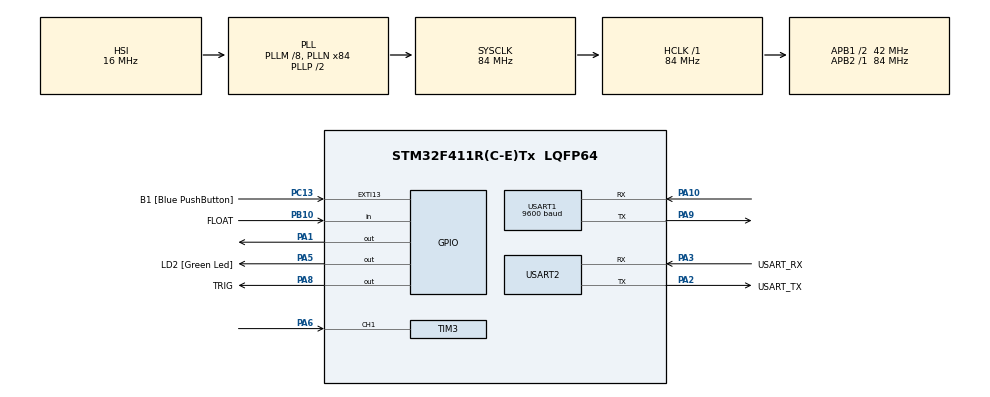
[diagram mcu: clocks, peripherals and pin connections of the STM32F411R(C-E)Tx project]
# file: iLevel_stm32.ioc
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Mcu.Family=STM32F4
Mcu.Name=STM32F411R(C-E)Tx
Mcu.Package=LQFP64
NVIC.PriorityGroup=NVIC_PRIORITYGROUP_0
NVIC.TIM3_IRQn=true\:0\:0\:false\:false\:true\:true\:true
NVIC.USART1_IRQn=true\:0\:0\:false\:false\:true\:true\:true
NVIC.USART2_IRQn=true\:0\:0\:false\:false\:true\:true\:true
PA1.Signal=GPIO_Output
PA10.Mode=Asynchronous
PA10.Signal=USART1_RX
PA13.GPIO_Label=TMS
PA13.Mode=Serial_Wire
PA13.Signal=SYS_JTMS-SWDIO
PA14.GPIO_Label=TCK
PA14.Mode=Serial_Wire
PA14.Signal=SYS_JTCK-SWCLK
PA2.GPIO_Label=USART_TX
PA2.Mode=Asynchronous
PA2.Signal=USART2_TX
PA3.GPIO_Label=USART_RX
PA3.Mode=Asynchronous
PA3.Signal=USART2_RX
PA5.GPIO_Label=LD2 [Green Led]
PA5.Signal=GPIO_Output
PA6.Signal=S_TIM3_CH1
PA8.GPIO_Label=TRIG
PA8.GPIO_PuPd=GPIO_NOPULL
PA8.Signal=GPIO_Output
PA9.Mode=Asynchronous
PA9.Signal=USART1_TX
PB10.GPIO_Label=FLOAT
PB10.GPIO_PuPd=GPIO_PULLUP
PB10.Signal=GPIO_Input
PB3.GPIO_Label=SWO
PB3.Signal=SYS_JTDO-SWO
PC13-ANTI_TAMP.GPIO_Label=B1 [Blue PushButton]
PC13-ANTI_TAMP.GPIO_ModeDefaultEXTI=GPIO_MODE_IT_FALLING
PC13-ANTI_TAMP.Signal=GPXTI13
PC14-OSC32_IN.Mode=LSE-External-Oscillator
PC14-OSC32_IN.Signal=RCC_OSC32_IN
PC15-OSC32_OUT.Mode=LSE-External-Oscillator
PC15-OSC32_OUT.Signal=RCC_OSC32_OUT
PH0\ -\ OSC_IN.Mode=HSE-External-Oscillator
PH0\ -\ OSC_IN.Signal=RCC_OSC_IN
PH1\ -\ OSC_OUT.Mode=HSE-External-Oscillator
PH1\ -\ OSC_OUT.Signal=RCC_OSC_OUT
ProjectManager.HeapSize=0x200
ProjectManager.StackSize=0x400
ProjectManager.TargetToolchain=STM32CubeIDE
RCC.48MHZClocksFreq_Value=42000000
RCC.AHBFreq_Value=84000000
RCC.APB1CLKDivider=RCC_HCLK_DIV2
RCC.APB1Freq_Value=42000000
RCC.APB1TimFreq_Value=84000000
RCC.APB2Freq_Value=84000000
RCC.APB2TimFreq_Value=84000000
RCC.CortexFreq_Value=84000000
RCC.FLatency-AdvancedSettings=FLASH_LATENCY_2
RCC.HCLKFreq_Value=84000000
RCC.HSE_VALUE=8000000
RCC.HSI_VALUE=16000000
RCC.PLLM=8
RCC.PLLN=84
RCC.SYSCLKFreq_VALUE=84000000
RCC.SYSCLKSource=RCC_SYSCLKSOURCE_PLLCLK
RCC.VCOOutputFreq_Value=168000000
SH.S_TIM3_CH1.0=TIM3_CH1,Input_Capture1_from_TI1
TIM10.Period=0xffff-1
TIM10.Prescaler=50-1
TIM3.Channel-Input_Capture1_from_TI1=TIM_CHANNEL_1
TIM3.ICFilter_CH1=4
TIM3.ICPolarity_CH1=TIM_INPUTCHANNELPOLARITY_BOTHEDGE
TIM3.Prescaler=84-1
TIM4.Period=0
TIM4.Prescaler=84-1
USART1.BaudRate=9600
USART1.VirtualMode=VM_ASYNC
USART2.VirtualMode=VM_ASYNC
VP_TIM10_VS_ClockSourceINT.Mode=Enable_Timer
VP_TIM3_VS_ClockSourceINT.Mode=Internal
VP_TIM4_VS_ClockSourceINT.Mode=Internal
board=NUCLEO-F411RE

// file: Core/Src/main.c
/* USER CODE BEGIN Header */
/**
 ******************************************************************************
 * @file           : main.c
 * @brief          : Main program body
 ******************************************************************************
 * @attention
 *
 * <h2><center>&copy; Copyright (c) 2022 STMicroelectronics.
 * All rights reserved.</center></h2>
 *
 * This software component is licensed by ST under BSD 3-Clause license,
 * the "License"; You may not use this file except in compliance with the
 * License. You may obtain a copy of the License at:
 *                        opensource.org/licenses/BSD-3-Clause
 *
 ******************************************************************************
 */
/* USER CODE END Header */
#include "main.h"

TIM_HandleTypeDef htim3;
TIM_HandleTypeDef htim4;
TIM_HandleTypeDef htim10;

UART_HandleTypeDef huart1;
UART_HandleTypeDef huart2;

void SystemClock_Config(void);
static void MX_GPIO_Init(void);
static void MX_USART2_UART_Init(void);
static void MX_TIM3_Init(void);
static void MX_TIM4_Init(void);
static void MX_TIM10_Init(void);
static void MX_USART1_UART_Init(void);
/* USER CODE BEGIN PFP */
void usDelay(uint32_t uSec);
/* USER CODE END PFP */

/* USER CODE BEGIN 0 */

char data[4] = "";
char buffer[21] = "F:0|S:123.45|T:67.89"; // F:x|S:xxx.xx|T:xx.xx
void HAL_UART_RxCpltCallback(UART_HandleTypeDef *huart) {
	if (huart == &huart1) {
		HAL_GPIO_TogglePin(GPIOA, GPIO_PIN_5);
		HAL_UART_Transmit(&huart2, data, sizeof(data), 1000);
		HAL_UART_Transmit(&huart1, buffer, sizeof(buffer), 1000);
	}
	HAL_UART_Receive_IT(&huart1, &data, sizeof(data));
}

uint8_t icFlag = 0;
uint8_t captureIdx = 0;
uint32_t edge1Time = 0, edge2Time = 0;
float distance;

//void usDelay(uint16_t time) {
//	/* change your code here for the usDelay in microseconds */
//	__HAL_TIM_SET_COUNTER(&htim10, 0);
//	while ((__HAL_TIM_GET_COUNTER(&htim10)) < time)
//		;
//}

uint8_t Temp_byte1, Temp_byte2;
uint16_t TEMP;

float Temperature = 0;
uint8_t Presence = 0;

void Set_Pin_Output(GPIO_TypeDef *GPIOx, uint16_t GPIO_Pin) {
	GPIO_InitTypeDef GPIO_InitStruct = { 0 };
	GPIO_InitStruct.Pin = GPIO_Pin;
	GPIO_InitStruct.Mode = GPIO_MODE_OUTPUT_PP;
	GPIO_InitStruct.Speed = GPIO_SPEED_FREQ_LOW;
	HAL_GPIO_Init(GPIOx, &GPIO_InitStruct);
}

void Set_Pin_Input(GPIO_TypeDef *GPIOx, uint16_t GPIO_Pin) {
	GPIO_InitTypeDef GPIO_InitStruct = { 0 };
	GPIO_InitStruct.Pin = GPIO_Pin;
	GPIO_InitStruct.Mode = GPIO_MODE_INPUT;
	GPIO_InitStruct.Pull = GPIO_PULLUP; // GPIO_NOPULL / GPIO_PULLUP
	HAL_GPIO_Init(GPIOx, &GPIO_InitStruct);
}

/*********************************** DS18B20 FUNCTIONS ****************************************/

#define DS18B20_PORT GPIOA
#define DS18B20_PIN GPIO_PIN_1

uint8_t DS18B20_Start(void) {
	uint8_t Response = 0;
	Set_Pin_Output(DS18B20_PORT, DS18B20_PIN);   // set the pin as output
	HAL_GPIO_WritePin(DS18B20_PORT, DS18B20_PIN, 0);  // pull the pin low
	usDelay(480);   // usDelay according to datasheet

	Set_Pin_Input(DS18B20_PORT, DS18B20_PIN);    // set the pin as input
	usDelay(80);    // usDelay according to datasheet

	if (!(HAL_GPIO_ReadPin(DS18B20_PORT, DS18B20_PIN)))
		Response = 1;    // if the pin is low i.e the presence pulse is detected
	else
		Response = -1;

	usDelay(400); // 480 us usDelay totally.

	return Response;
}

void DS18B20_Write(uint8_t data) {
	Set_Pin_Output(DS18B20_PORT, DS18B20_PIN);  // set as output

	for (int i = 0; i < 8; i++) {

		if ((data & (1 << i)) != 0)  // if the bit is high
				{
			// write 1

			Set_Pin_Output(DS18B20_PORT, DS18B20_PIN);  // set as output
			HAL_GPIO_WritePin(DS18B20_PORT, DS18B20_PIN, 0); // pull the pin LOW
			usDelay(1);  // wait for 1 us

			Set_Pin_Input(DS18B20_PORT, DS18B20_PIN);  // set as input
			usDelay(50);
		}

		else  // if the bit is low
		{
			// write 0

			Set_Pin_Output(DS18B20_PORT, DS18B20_PIN);
			HAL_GPIO_WritePin(DS18B20_PORT, DS18B20_PIN, 0); // pull the pin LOW
			usDelay(50);

			Set_Pin_Input(DS18B20_PORT, DS18B20_PIN);
		}
	}
}

uint8_t DS18B20_Read(void) {
	uint8_t value = 0;

	Set_Pin_Input(DS18B20_PORT, DS18B20_PIN);

	for (int i = 0; i < 8; i++) {
		Set_Pin_Output(DS18B20_PORT, DS18B20_PIN);   // set as output

		HAL_GPIO_WritePin(DS18B20_PORT, DS18B20_PIN, 0); // pull the data pin LOW
		usDelay(1);  // wait for > 1us

		Set_Pin_Input(DS18B20_PORT, DS18B20_PIN);  // set as input
		if (HAL_GPIO_ReadPin(DS18B20_PORT, DS18B20_PIN))  // if the pin is HIGH
				{
			value |= 1 << i;  // read = 1
		}
		usDelay(50);
	}
	return value;
}
/* USER CODE END 0 */

int main(void) {

	/* MCU Configuration--------------------------------------------------------*/

	/* Reset of all peripherals, Initializes the Flash interface and the Systick. */
	HAL_Init();

	/* Configure the system clock */
	SystemClock_Config();

	/* Initialize all configured peripherals */
	MX_GPIO_Init();
	MX_USART2_UART_Init();
	MX_TIM3_Init();
	MX_TIM4_Init();
	MX_TIM10_Init();
	MX_USART1_UART_Init();
	/* USER CODE BEGIN 2 */
	int Float = 0;
	HAL_UART_Transmit(&huart1, buffer, sizeof(buffer), 1000);
	/* USER CODE END 2 */

	/* Infinite loop */
	while (1) {

		/* USER CODE BEGIN 3 */
		// set trig to low for few usec
		HAL_GPIO_WritePin(TRIG_GPIO_Port, TRIG_Pin, GPIO_PIN_RESET);
		usDelay(3);

		// output 10 usec trig
		HAL_GPIO_WritePin(TRIG_GPIO_Port, TRIG_Pin, GPIO_PIN_SET);
		usDelay(10);
		HAL_GPIO_WritePin(TRIG_GPIO_Port, TRIG_Pin, GPIO_PIN_RESET);

		// echo signal pulse width
		HAL_TIM_IC_Start_IT(&htim3, TIM_CHANNEL_1);
		// wait for ic flag
		uint32_t startTick = HAL_GetTick();
		do {
			if (icFlag)
				break;
		} while ((HAL_GetTick() - startTick) < 500);
		icFlag = 0;
		HAL_TIM_IC_Stop_IT(&htim3, TIM_CHANNEL_1);

		// calculate distance in cm
		if (edge2Time > edge1Time) {
			distance = ((edge2Time - edge1Time) + 0.0f) * 0.0171821;
		} else {
			distance = 0.0f;
		}
//		char dis[50];
//		sprintf(dis, "Distance (cm) = %06.2f\r\n", distance);
//		HAL_UART_Transmit(&huart2, (uint8_t*) dis, strlen(dis), HAL_MAX_DELAY);
//*********************************************float sensor**********************************//
		if (HAL_GPIO_ReadPin(FLOAT_GPIO_Port, FLOAT_Pin) == GPIO_PIN_RESET) {
			Float = 0;
		} else {
			Float = 1;
		}

//*********************************************ds18b20**********************************//
		Presence = DS18B20_Start();
		HAL_Delay(1);
		DS18B20_Write(0xCC);  // skip ROM
		DS18B20_Write(0x44);  // convert t
		HAL_Delay(800);

		Presence = DS18B20_Start();
		HAL_Delay(1);
		DS18B20_Write(0xCC);  // skip ROM
		DS18B20_Write(0xBE);  // Read Scratch-pad

		Temp_byte1 = DS18B20_Read();
		Temp_byte2 = DS18B20_Read();
		TEMP = (Temp_byte2 << 8) | Temp_byte1;
		Temperature = (float) TEMP / 16;

//		char temp[50];
//		sprintf(temp, "F:%d|S:%06.2f|T:%.2f\r\n", Float, distance, Temperature);
//		HAL_UART_Transmit(&huart2, (uint8_t*) temp, strlen(temp),HAL_MAX_DELAY);

		sprintf(buffer, "F:%d|S:%06.2f|T:%.2f", Float, distance, Temperature);
		HAL_UART_Receive_IT(&huart1, &data, sizeof(data));
	}
	/* USER CODE END 3 */
}

void SystemClock_Config(void) {
	RCC_OscInitTypeDef RCC_OscInitStruct = { 0 };
	RCC_ClkInitTypeDef RCC_ClkInitStruct = { 0 };

	/** Configure the main internal regulator output voltage
	 */
	__HAL_RCC_PWR_CLK_ENABLE();
	__HAL_PWR_VOLTAGESCALING_CONFIG(PWR_REGULATOR_VOLTAGE_SCALE1);
	/** Initializes the RCC Oscillators according to the specified parameters
	 * in the RCC_OscInitTypeDef structure.
	 */
	RCC_OscInitStruct.OscillatorType = RCC_OSCILLATORTYPE_HSI;
	RCC_OscInitStruct.HSIState = RCC_HSI_ON;
	RCC_OscInitStruct.HSICalibrationValue = RCC_HSICALIBRATION_DEFAULT;
	RCC_OscInitStruct.PLL.PLLState = RCC_PLL_ON;
	RCC_OscInitStruct.PLL.PLLSource = RCC_PLLSOURCE_HSI;
	RCC_OscInitStruct.PLL.PLLM = 8;
	RCC_OscInitStruct.PLL.PLLN = 84;
	RCC_OscInitStruct.PLL.PLLP = RCC_PLLP_DIV2;
	RCC_OscInitStruct.PLL.PLLQ = 4;
	if (HAL_RCC_OscConfig(&RCC_OscInitStruct) != HAL_OK) {
		Error_Handler();
	}
	/** Initializes the CPU, AHB and APB buses clocks
	 */
	RCC_ClkInitStruct.ClockType = RCC_CLOCKTYPE_HCLK | RCC_CLOCKTYPE_SYSCLK
			| RCC_CLOCKTYPE_PCLK1 | RCC_CLOCKTYPE_PCLK2;
	RCC_ClkInitStruct.SYSCLKSource = RCC_SYSCLKSOURCE_PLLCLK;
	RCC_ClkInitStruct.AHBCLKDivider = RCC_SYSCLK_DIV1;
	RCC_ClkInitStruct.APB1CLKDivider = RCC_HCLK_DIV2;
	RCC_ClkInitStruct.APB2CLKDivider = RCC_HCLK_DIV1;

	if (HAL_RCC_ClockConfig(&RCC_ClkInitStruct, FLASH_LATENCY_2) != HAL_OK) {
		Error_Handler();
	}
}

static void MX_TIM3_Init(void) {

	TIM_ClockConfigTypeDef sClockSourceConfig = { 0 };
	TIM_MasterConfigTypeDef sMasterConfig = { 0 };
	TIM_IC_InitTypeDef sConfigIC = { 0 };

	htim3.Instance = TIM3;
	htim3.Init.Prescaler = 84 - 1;
	htim3.Init.CounterMode = TIM_COUNTERMODE_UP;
	htim3.Init.Period = 65535;
	htim3.Init.ClockDivision = TIM_CLOCKDIVISION_DIV1;
	htim3.Init.AutoReloadPreload = TIM_AUTORELOAD_PRELOAD_DISABLE;
	if (HAL_TIM_Base_Init(&htim3) != HAL_OK) {
		Error_Handler();
	}
	sClockSourceConfig.ClockSource = TIM_CLOCKSOURCE_INTERNAL;
	if (HAL_TIM_ConfigClockSource(&htim3, &sClockSourceConfig) != HAL_OK) {
		Error_Handler();
	}
	if (HAL_TIM_IC_Init(&htim3) != HAL_OK) {
		Error_Handler();
	}
	sMasterConfig.MasterOutputTrigger = TIM_TRGO_RESET;
	sMasterConfig.MasterSlaveMode = TIM_MASTERSLAVEMODE_DISABLE;
	if (HAL_TIMEx_MasterConfigSynchronization(&htim3, &sMasterConfig)
			!= HAL_OK) {
		Error_Handler();
	}
	sConfigIC.ICPolarity = TIM_INPUTCHANNELPOLARITY_BOTHEDGE;
	sConfigIC.ICSelection = TIM_ICSELECTION_DIRECTTI;
	sConfigIC.ICPrescaler = TIM_ICPSC_DIV1;
	sConfigIC.ICFilter = 4;
	if (HAL_TIM_IC_ConfigChannel(&htim3, &sConfigIC, TIM_CHANNEL_1) != HAL_OK) {
		Error_Handler();
	}

}

static void MX_TIM4_Init(void) {

	TIM_ClockConfigTypeDef sClockSourceConfig = { 0 };
	TIM_MasterConfigTypeDef sMasterConfig = { 0 };

	htim4.Instance = TIM4;
	htim4.Init.Prescaler = 84 - 1;
	htim4.Init.CounterMode = TIM_COUNTERMODE_UP;
	htim4.Init.Period = 0;
	htim4.Init.ClockDivision = TIM_CLOCKDIVISION_DIV1;
	htim4.Init.AutoReloadPreload = TIM_AUTORELOAD_PRELOAD_DISABLE;
	if (HAL_TIM_Base_Init(&htim4) != HAL_OK) {
		Error_Handler();
	}
	sClockSourceConfig.ClockSource = TIM_CLOCKSOURCE_INTERNAL;
	if (HAL_TIM_ConfigClockSource(&htim4, &sClockSourceConfig) != HAL_OK) {
		Error_Handler();
	}
	sMasterConfig.MasterOutputTrigger = TIM_TRGO_RESET;
	sMasterConfig.MasterSlaveMode = TIM_MASTERSLAVEMODE_DISABLE;
	if (HAL_TIMEx_MasterConfigSynchronization(&htim4, &sMasterConfig)
			!= HAL_OK) {
		Error_Handler();
	}

}

static void MX_TIM10_Init(void) {

	htim10.Instance = TIM10;
	htim10.Init.Prescaler = 50 - 1;
	htim10.Init.CounterMode = TIM_COUNTERMODE_UP;
	htim10.Init.Period = 0xffff - 1;
	htim10.Init.ClockDivision = TIM_CLOCKDIVISION_DIV1;
	htim10.Init.AutoReloadPreload = TIM_AUTORELOAD_PRELOAD_DISABLE;
	if (HAL_TIM_Base_Init(&htim10) != HAL_OK) {
		Error_Handler();
	}

}

static void MX_USART1_UART_Init(void) {

	huart1.Instance = USART1;
	huart1.Init.BaudRate = 9600;
	huart1.Init.WordLength = UART_WORDLENGTH_8B;
	huart1.Init.StopBits = UART_STOPBITS_1;
	huart1.Init.Parity = UART_PARITY_NONE;
	huart1.Init.Mode = UART_MODE_TX_RX;
	huart1.Init.HwFlowCtl = UART_HWCONTROL_NONE;
	huart1.Init.OverSampling = UART_OVERSAMPLING_16;
	if (HAL_UART_Init(&huart1) != HAL_OK) {
		Error_Handler();
	}

}

static void MX_USART2_UART_Init(void) {

	huart2.Instance = USART2;
	huart2.Init.BaudRate = 115200;
	huart2.Init.WordLength = UART_WORDLENGTH_8B;
	huart2.Init.StopBits = UART_STOPBITS_1;
	huart2.Init.Parity = UART_PARITY_NONE;
	huart2.Init.Mode = UART_MODE_TX_RX;
	huart2.Init.HwFlowCtl = UART_HWCONTROL_NONE;
	huart2.Init.OverSampling = UART_OVERSAMPLING_16;
	if (HAL_UART_Init(&huart2) != HAL_OK) {
		Error_Handler();
	}

}

static void MX_GPIO_Init(void) {
	GPIO_InitTypeDef GPIO_InitStruct = { 0 };

	/* GPIO Ports Clock Enable */
	__HAL_RCC_GPIOC_CLK_ENABLE();
	__HAL_RCC_GPIOH_CLK_ENABLE();
	__HAL_RCC_GPIOA_CLK_ENABLE();
	__HAL_RCC_GPIOB_CLK_ENABLE();

	/*Configure GPIO pin Output Level */
	HAL_GPIO_WritePin(GPIOA, GPIO_PIN_1 | LD2_Pin | TRIG_Pin, GPIO_PIN_RESET);

	/*Configure GPIO pin : B1_Pin */
	GPIO_InitStruct.Pin = B1_Pin;
	GPIO_InitStruct.Mode = GPIO_MODE_IT_FALLING;
	GPIO_InitStruct.Pull = GPIO_NOPULL;
	HAL_GPIO_Init(B1_GPIO_Port, &GPIO_InitStruct);

	/*Configure GPIO pins : PA1 LD2_Pin TRIG_Pin */
	GPIO_InitStruct.Pin = GPIO_PIN_1 | LD2_Pin | TRIG_Pin;
	GPIO_InitStruct.Mode = GPIO_MODE_OUTPUT_PP;
	GPIO_InitStruct.Pull = GPIO_NOPULL;
	GPIO_InitStruct.Speed = GPIO_SPEED_FREQ_LOW;
	HAL_GPIO_Init(GPIOA, &GPIO_InitStruct);

	/*Configure GPIO pin : FLOAT_Pin */
	GPIO_InitStruct.Pin = FLOAT_Pin;
	GPIO_InitStruct.Mode = GPIO_MODE_INPUT;
	GPIO_InitStruct.Pull = GPIO_PULLUP;
	HAL_GPIO_Init(FLOAT_GPIO_Port, &GPIO_InitStruct);

}

/* USER CODE BEGIN 4 */
void usDelay(uint32_t uSec) {
	if (uSec < 2)
		uSec = 2;
	TIM4->ARR = uSec - 1;
	TIM4->EGR = 1;
	TIM4->SR &= ~1;
	TIM4->CR1 |= 1;
	while ((TIM4->SR & 0x0001) != 1)
		;
	TIM4->SR &= ~(0x0001);
}

void HAL_TIM_IC_CaptureCallback(TIM_HandleTypeDef *htim) {

	if (captureIdx == 0) {
		edge1Time = HAL_TIM_ReadCapturedValue(htim, TIM_CHANNEL_1);
		captureIdx = 1;
	} else if (captureIdx == 1) {
		edge2Time = HAL_TIM_ReadCapturedValue(htim, TIM_CHANNEL_1);
		captureIdx = 0;
		icFlag = 1;
	}
}
/* USER CODE END 4 */

void Error_Handler(void) {
	__disable_irq();
	while (1) {
	}
}

/************************ (C) COPYRIGHT STMicroelectronics *****END OF FILE****/
